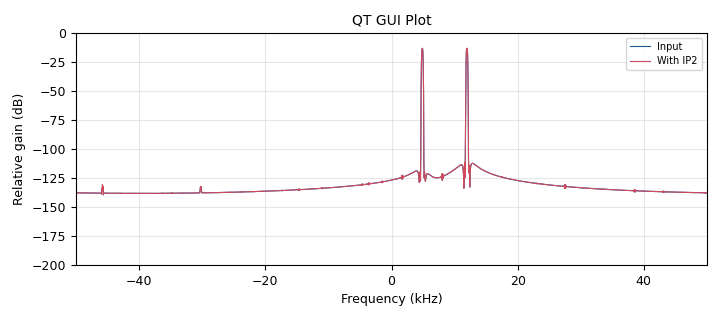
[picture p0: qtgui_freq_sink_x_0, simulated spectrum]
<?xml version='1.0' encoding='utf-8'?>
<flow_graph>
<block>
<key>options</key>
<param><key>id</key><value>demo_ip2</value></param>
<param><key>generate_options</key><value>qt_gui</value></param>
<param><key>category</key><value>Custom</value></param>
</block>
<block>
<key>variable</key>
<param><key>id</key><value>samp_rate</value></param>
<param><key>value</key><value>100000</value></param>
</block>
<block>
<key>import</key>
<param><key>id</key><value>import_0</value></param>
<param><key>import</key><value>import math</value></param>
</block>
<block>
<key>variable_qtgui_range</key>
<param><key>id</key><value>noise_amp</value></param>
<param><key>label</key><value>Noise Power</value></param>
<param><key>value</key><value>-150</value></param>
<param><key>start</key><value>-150</value></param>
<param><key>stop</key><value>0</value></param>
<param><key>step</key><value>5</value></param>
<param><key>orient</key><value>Qt.Horizontal</value></param>
<param><key>gui_hint</key><value>2,1,1,1</value></param>
</block>
<block>
<key>variable_qtgui_range</key>
<param><key>id</key><value>signal_amp</value></param>
<param><key>label</key><value>Singal Power</value></param>
<param><key>value</key><value>0</value></param>
<param><key>start</key><value>-150</value></param>
<param><key>stop</key><value>10</value></param>
<param><key>step</key><value>5</value></param>
<param><key>orient</key><value>Qt.Horizontal</value></param>
<param><key>gui_hint</key><value>2,0,1,1</value></param>
</block>
<block>
<key>blocks_add_xx</key>
<param><key>id</key><value>blocks_add_xx_0</value></param>
<param><key>type</key><value>complex</value></param>
</block>
<block>
<key>analog_sig_source_x</key>
<param><key>id</key><value>analog_sig_source_x_0</value></param>
<param><key>type</key><value>complex</value></param>
<param><key>samp_rate</key><value>samp_rate</value></param>
<param><key>waveform</key><value>analog.GR_COS_WAVE</value></param>
<param><key>freq</key><value>sigfreq</value></param>
<param><key>amp</key><value>pow(10.0,signal_amp/20.0)</value></param>
<param><key>offset</key><value>0</value></param>
</block>
<block>
<key>analog_sig_source_x</key>
<param><key>id</key><value>analog_sig_source_x_0_0</value></param>
<param><key>type</key><value>complex</value></param>
<param><key>samp_rate</key><value>samp_rate</value></param>
<param><key>waveform</key><value>analog.GR_COS_WAVE</value></param>
<param><key>freq</key><value>2.45*sigfreq</value></param>
<param><key>amp</key><value>pow(10.0,signal_amp/20.0)</value></param>
<param><key>offset</key><value>0</value></param>
</block>
<block>
<key>variable_qtgui_range</key>
<param><key>id</key><value>ip2</value></param>
<param><key>label</key><value>IP2</value></param>
<param><key>value</key><value>0</value></param>
<param><key>start</key><value>0</value></param>
<param><key>stop</key><value>1</value></param>
<param><key>step</key><value>0.01</value></param>
<param><key>orient</key><value>Qt.Horizontal</value></param>
<param><key>gui_hint</key><value>3,1,1,1</value></param>
</block>
<block>
<key>variable_qtgui_range</key>
<param><key>id</key><value>sigfreq</value></param>
<param><key>label</key><value>Signal Freq</value></param>
<param><key>value</key><value>samp_rate*1.0247385/21.0</value></param>
<param><key>start</key><value>0</value></param>
<param><key>stop</key><value>samp_rate/2</value></param>
<param><key>step</key><value>1000</value></param>
<param><key>orient</key><value>Qt.Horizontal</value></param>
<param><key>gui_hint</key><value>3,0,1,1</value></param>
</block>
<block>
<key>channels_distortion_2_gen</key>
<param><key>id</key><value>channels_distortion_2_gen_0</value></param>
<param><key>beta</key><value>ip2</value></param>
</block>
<block>
<key>blocks_throttle</key>
<param><key>id</key><value>blocks_throttle_0</value></param>
<param><key>type</key><value>complex</value></param>
<param><key>samples_per_second</key><value>samp_rate</value></param>
</block>
<block>
<key>qtgui_freq_sink_x</key>
<param><key>id</key><value>qtgui_freq_sink_x_0</value></param>
<param><key>type</key><value>complex</value></param>
<param><key>name</key><value>QT GUI Plot</value></param>
<param><key>fftsize</key><value>2048</value></param>
<param><key>wintype</key><value>firdes.WIN_FLATTOP</value></param>
<param><key>fc</key><value>0</value></param>
<param><key>bw</key><value>samp_rate</value></param>
<param><key>ymin</key><value>-200</value></param>
<param><key>ymax</key><value>0</value></param>
<param><key>nconnections</key><value>2</value></param>
<param><key>gui_hint</key><value>0,0,1,2</value></param>
<param><key>label1</key><value>Input</value></param>
<param><key>width1</key><value>2</value></param>
<param><key>alpha1</key><value>0.5</value></param>
<param><key>label2</key><value>With IP2</value></param>
<param><key>width2</key><value>2</value></param>
<param><key>alpha2</key><value>0.5</value></param>
</block>
<connection><source_block_id>blocks_add_xx_0</source_block_id><sink_block_id>blocks_throttle_0</sink_block_id><source_key>0</source_key><sink_key>0</sink_key></connection>
<connection><source_block_id>analog_sig_source_x_0_0</source_block_id><sink_block_id>blocks_add_xx_0</sink_block_id><source_key>0</source_key><sink_key>0</sink_key></connection>
<connection><source_block_id>blocks_throttle_0</source_block_id><sink_block_id>channels_distortion_2_gen_0</sink_block_id><source_key>0</source_key><sink_key>0</sink_key></connection>
<connection><source_block_id>analog_sig_source_x_0</source_block_id><sink_block_id>blocks_add_xx_0</sink_block_id><source_key>0</source_key><sink_key>1</sink_key></connection>
<connection><source_block_id>channels_distortion_2_gen_0</source_block_id><sink_block_id>qtgui_freq_sink_x_0</sink_block_id><source_key>0</source_key><sink_key>1</sink_key></connection>
<connection><source_block_id>blocks_throttle_0</source_block_id><sink_block_id>qtgui_freq_sink_x_0</sink_block_id><source_key>0</source_key><sink_key>0</sink_key></connection>
</flow_graph>
